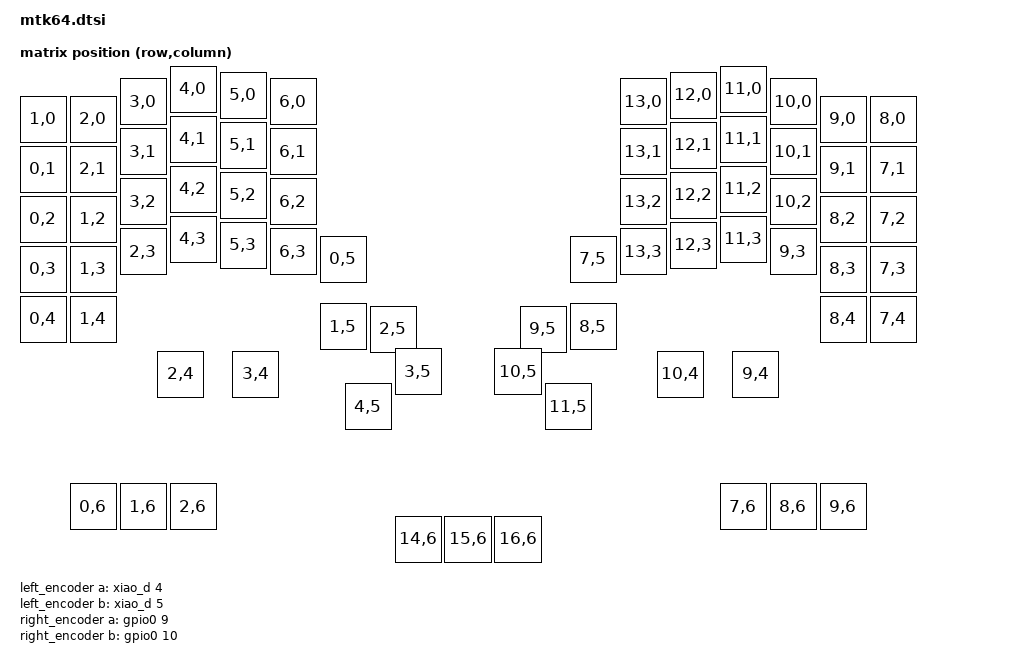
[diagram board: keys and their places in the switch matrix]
#include <dt-bindings/zmk/matrix_transform.h>
#include <physical_layouts.dtsi>

/ {
    chosen {
        zmk,physical-layout = &mtk64_physical_layout;
    };
    
    mtk64_physical_layout: mtk64_physical_layout {
        compatible = "zmk,physical-layout";
        display-name = "Default";
        transform = <&default_transform>;
        kscan = <&kscan0>;

        // https://zmk-physical-layout-converter.streamlit.app/
        keys  //                 w   h    x    y     rot    rx    ry
        = <&key_physical_attrs 100 100    0   60       0     0     0>
        , <&key_physical_attrs 100 100  100   60       0     0     0>
        , <&key_physical_attrs 100 100  200   25       0     0     0>
        , <&key_physical_attrs 100 100  300    0       0     0     0>
        , <&key_physical_attrs 100 100  400   12       0     0     0>
        , <&key_physical_attrs 100 100  500   25       0     0     0>
        , <&key_physical_attrs 100 100 1200   25       0     0     0>
        , <&key_physical_attrs 100 100 1300   12       0     0     0>
        , <&key_physical_attrs 100 100 1400    0       0     0     0>
        , <&key_physical_attrs 100 100 1500   25       0     0     0>
        , <&key_physical_attrs 100 100 1600   60       0     0     0>
        , <&key_physical_attrs 100 100 1700   60       0     0     0>

        , <&key_physical_attrs 100 100    0  160       0     0     0>
        , <&key_physical_attrs 100 100  100  160       0     0     0>
        , <&key_physical_attrs 100 100  200  125       0     0     0>
        , <&key_physical_attrs 100 100  300  100       0     0     0>
        , <&key_physical_attrs 100 100  400  112       0     0     0>
        , <&key_physical_attrs 100 100  500  125       0     0     0>
        , <&key_physical_attrs 100 100 1200  125       0     0     0>
        , <&key_physical_attrs 100 100 1300  112       0     0     0>
        , <&key_physical_attrs 100 100 1400  100       0     0     0>
        , <&key_physical_attrs 100 100 1500  125       0     0     0>
        , <&key_physical_attrs 100 100 1600  160       0     0     0>
        , <&key_physical_attrs 100 100 1700  160       0     0     0>

        , <&key_physical_attrs 100 100    0  260       0     0     0>
        , <&key_physical_attrs 100 100  100  260       0     0     0>
        , <&key_physical_attrs 100 100  200  225       0     0     0>
        , <&key_physical_attrs 100 100  300  200       0     0     0>
        , <&key_physical_attrs 100 100  400  212       0     0     0>
        , <&key_physical_attrs 100 100  500  225       0     0     0>
        , <&key_physical_attrs 100 100 1200  225       0     0     0>
        , <&key_physical_attrs 100 100 1300  212       0     0     0>
        , <&key_physical_attrs 100 100 1400  200       0     0     0>
        , <&key_physical_attrs 100 100 1500  225       0     0     0>
        , <&key_physical_attrs 100 100 1600  260       0     0     0>
        , <&key_physical_attrs 100 100 1700  260       0     0     0>

        , <&key_physical_attrs 100 100    0  360       0     0     0>
        , <&key_physical_attrs 100 100  100  360       0     0     0>
        , <&key_physical_attrs 100 100  200  325       0     0     0>
        , <&key_physical_attrs 100 100  300  300       0     0     0>
        , <&key_physical_attrs 100 100  400  312       0     0     0>
        , <&key_physical_attrs 100 100  500  325       0     0     0>
        , <&key_physical_attrs 100 100  600  340       0     0     0>
        , <&key_physical_attrs 100 100 1100  340       0     0     0>
        , <&key_physical_attrs 100 100 1200  325       0     0     0>
        , <&key_physical_attrs 100 100 1300  312       0     0     0>
        , <&key_physical_attrs 100 100 1400  300       0     0     0>
        , <&key_physical_attrs 100 100 1500  325       0     0     0>
        , <&key_physical_attrs 100 100 1600  360       0     0     0>
        , <&key_physical_attrs 100 100 1700  360       0     0     0>

        , <&key_physical_attrs 100 100    0  460       0     0     0>
        , <&key_physical_attrs 100 100  100  460       0     0     0>
        , <&key_physical_attrs 100 100  600  475       0     0     0>
        , <&key_physical_attrs 100 100  700  480       0     0     0>
        , <&key_physical_attrs 100 100 1000  480       0     0     0>
        , <&key_physical_attrs 100 100 1100  475       0     0     0>
        , <&key_physical_attrs 100 100 1600  460       0     0     0>
        , <&key_physical_attrs 100 100 1700  460       0     0     0>
        
        , <&key_physical_attrs 100 100  275  570       0     0     0>
        , <&key_physical_attrs 100 100  425  570       0     0     0>
        , <&key_physical_attrs 100 100  750  565       0     0     0>
        , <&key_physical_attrs 100 100  950  565       0     0     0>
        , <&key_physical_attrs 100 100 1275  570       0     0     0>
        , <&key_physical_attrs 100 100 1425  570       0     0     0>

        , <&key_physical_attrs 100 100  650  635       0     0     0>
        , <&key_physical_attrs 100 100 1050  635       0     0     0>

        , <&key_physical_attrs 100 100  100  835       0     0     0>
        , <&key_physical_attrs 100 100  200  835       0     0     0>
        , <&key_physical_attrs 100 100  300  835       0     0     0>
        , <&key_physical_attrs 100 100 1400  835       0     0     0>
        , <&key_physical_attrs 100 100 1500  835       0     0     0>
        , <&key_physical_attrs 100 100 1600  835       0     0     0>

        , <&key_physical_attrs 100 100  750  900       0     0     0>
        , <&key_physical_attrs 100 100  850  900       0     0     0>
        , <&key_physical_attrs 100 100  950  900       0     0     0>

            ;
    };

    default_transform: keymap_transform_0 {
        compatible = "zmk,matrix-transform";
        columns = <21>;
        rows = <7>;               

        map = <
        RC(1,0)  RC(2,0)  RC(3,0)  RC(4,0)  RC(5,0)  RC(6,0)                    RC(13,0)  RC(12,0) RC(11,0) RC(10,0) RC(9,0)  RC(8,0)  
        RC(0,1)  RC(2,1)  RC(3,1)  RC(4,1)  RC(5,1)  RC(6,1)                    RC(13,1)  RC(12,1) RC(11,1) RC(10,1) RC(9,1)  RC(7,1)  
        RC(0,2)  RC(1,2)  RC(3,2)  RC(4,2)  RC(5,2)  RC(6,2)                    RC(13,2)  RC(12,2) RC(11,2) RC(10,2) RC(8,2)  RC(7,2)  
        RC(0,3)  RC(1,3)  RC(2,3)  RC(4,3)  RC(5,3)  RC(6,3)  RC(0,5)  RC(7,5)  RC(13,3)  RC(12,3) RC(11,3) RC(9,3)  RC(8,3)  RC(7,3)  
        RC(0,4)  RC(1,4)                             RC(1,5)  RC(2,5)  RC(9,5)  RC(8,5)                              RC(8,4)  RC(7,4)  
                          RC(2,4)           RC(3,4)           RC(3,5)  RC(10,5)           RC(10,4)          RC(9,4)            
                                                              RC(4,5)  RC(11,5)                                
                 RC(0,6)  RC(1,6)  RC(2,6)                                                         RC(7,6)  RC(8,6)  RC(9,6)  
                                                         RC(14,6) RC(15,6) RC(16,6)  
             >;
    };
    
    kscan0: kscan {
        compatible = "zmk,kscan-gpio-charlieplex";
        wakeup-source;

        interrupt-gpios = <&xiao_d 10 (GPIO_ACTIVE_HIGH | GPIO_PULL_DOWN)>;
        gpios =   <&xiao_d 1 GPIO_ACTIVE_HIGH> 
                , <&xiao_d 2 GPIO_ACTIVE_HIGH> 
                , <&xiao_d 3 GPIO_ACTIVE_HIGH> 
                , <&xiao_d 6 GPIO_ACTIVE_HIGH>
                , <&xiao_d 7 GPIO_ACTIVE_HIGH> 
                , <&xiao_d 8 GPIO_ACTIVE_HIGH> 
                , <&xiao_d 9 GPIO_ACTIVE_HIGH> 	
                ;

    };

    // steps を 15 → 20 にした (2026-08-16)。1ノッチで1回だけ発火させるための値。
    //
    // ec11 ドライバは 1パルス = 360/steps 度 を出し (app/module/drivers/sensor/ec11/ec11.c)、
    // behavior_sensor_rotate_common は 360/triggers-per-rotation 度 ごとに1回 発火する。
    // したがって 1パルスあたりの発火回数 = triggers-per-rotation ÷ steps。
    //
    // この盤は 1ノッチで 2パルス 出る。15 のときは 2 × (10/15) = 4/3 になっていて、
    // 3ノッチ回すと4回 発火していた。実機では 1,1,2,1,1,2 … の繰り返しとして出る
    // (2026-08-16 に本人が申告。周期がきれいなので接触不良ではなく比の設定ずれ)。
    // 20 なら 2 × (10/20) = 1 ちょうど。1パルス18度・発火は36度ごとで割り切れるので
    // 端数が溜まって時々1つ多く進むこともない。
    //
    // 書き込んだあと「1ノッチおきに反応しない」に変わったら、1ノッチ1パルスの盤だった
    // ということなので steps を 10 に落とす。逆にまだ多いなら 30 → 40 と上げる。
    left_encoder: encoder_left {
        compatible = "alps,ec11";
        a-gpios = <&xiao_d 4 (GPIO_ACTIVE_HIGH | GPIO_PULL_UP)>;
        b-gpios = <&xiao_d 5 (GPIO_ACTIVE_HIGH | GPIO_PULL_UP)>;
        steps = <20>;
        status = "disabled";
    };

    right_encoder: encoder_right {
        compatible = "alps,ec11";
        a-gpios = <&gpio0 9 (GPIO_ACTIVE_HIGH | GPIO_PULL_UP)>;
        b-gpios = <&gpio0 10 (GPIO_ACTIVE_HIGH | GPIO_PULL_UP)>;
        steps = <20>;
        status = "disabled";
    };

    sensors: sensors {
        compatible = "zmk,keymap-sensors";
        sensors = <&left_encoder &right_encoder>;
        triggers-per-rotation = <10>;
    };
};

&uicr {
        nfct-pins-as-gpios;
};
